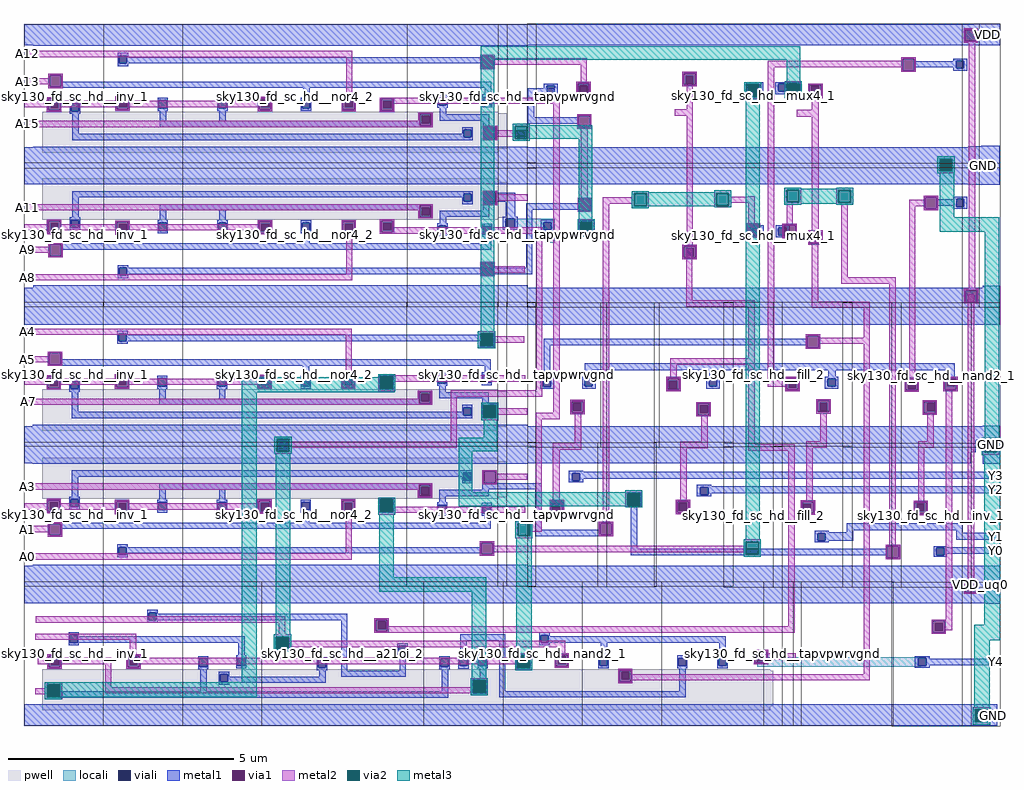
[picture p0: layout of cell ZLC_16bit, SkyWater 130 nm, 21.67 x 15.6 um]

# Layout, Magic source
magic
tech sky130B
magscale 1 2
<< locali >>
rect 2152 2014 2328 2054
rect 2288 1948 2328 2014
rect 3229 104 3957 107
rect 3229 70 3944 104
rect 3229 65 3957 70
<< viali >>
rect 2112 2014 2152 2054
rect 2278 1308 2312 1342
rect 2462 1310 2496 1344
rect 2838 1300 2872 1334
rect 3014 1310 3048 1344
rect 3368 1304 3402 1338
rect 3542 1310 3576 1344
rect 3898 1300 3932 1334
rect 4072 1310 4106 1344
rect 2412 1202 2446 1236
rect 2974 1192 3008 1226
rect 3506 1202 3540 1236
rect 3982 1200 4016 1234
rect 2406 890 2440 924
rect 2976 828 3010 862
rect 2318 758 2352 792
rect 2880 758 2914 792
rect 3432 754 3466 788
rect 3936 754 3970 788
rect 3496 624 3530 658
rect 4024 560 4058 594
rect 4018 224 4052 258
rect 3944 70 3978 104
<< metal1 >>
rect 4192 2918 4306 2920
rect -28 2824 4306 2918
rect 3868 2764 3932 2770
rect 3868 2712 3874 2764
rect 3926 2754 3932 2764
rect 3926 2747 4104 2754
rect 3926 2733 4112 2747
rect 3926 2726 4104 2733
rect 3926 2712 3932 2726
rect 3868 2706 3932 2712
rect 2424 2656 2488 2662
rect 2210 2606 2338 2634
rect 2210 2504 2238 2606
rect 2424 2604 2430 2656
rect 2482 2604 2488 2656
rect 2424 2598 2488 2604
rect 3180 2648 3254 2660
rect 3180 2596 3190 2648
rect 3242 2596 3254 2648
rect 3360 2654 3424 2660
rect 3360 2602 3366 2654
rect 3418 2602 3424 2654
rect 3360 2596 3424 2602
rect 3180 2588 3254 2596
rect 2428 2512 2492 2518
rect 2428 2504 2434 2512
rect 2210 2476 2434 2504
rect 2428 2460 2434 2476
rect 2486 2460 2492 2512
rect 2428 2454 2492 2460
rect 4164 2372 4304 2376
rect -26 2318 4304 2372
rect -26 2266 4040 2318
rect 4092 2266 4304 2318
rect -26 2208 4304 2266
rect 4164 2204 4304 2208
rect 2014 2129 2153 2170
rect 3968 2150 4032 2156
rect 2112 2062 2153 2129
rect 2430 2142 2494 2148
rect 2430 2122 2436 2142
rect 2202 2094 2436 2122
rect 2098 2054 2164 2062
rect 2098 2014 2112 2054
rect 2152 2014 2164 2054
rect 2098 2004 2164 2014
rect 2202 1836 2230 2094
rect 2430 2090 2436 2094
rect 2488 2090 2494 2142
rect 3968 2098 3974 2150
rect 4026 2141 4032 2150
rect 4026 2112 4116 2141
rect 4026 2098 4032 2112
rect 3968 2092 4032 2098
rect 2430 2084 2494 2090
rect 2436 2038 2504 2048
rect 2436 1986 2442 2038
rect 2494 1986 2504 2038
rect 2436 1978 2504 1986
rect 3178 2028 3242 2034
rect 3178 1976 3184 2028
rect 3236 1976 3242 2028
rect 3178 1970 3242 1976
rect 3340 2026 3404 2032
rect 3340 1974 3346 2026
rect 3398 1974 3404 2026
rect 3340 1968 3404 1974
rect 1974 1808 2230 1836
rect 4230 1748 4306 1756
rect -28 1584 4306 1748
rect 3444 1534 3508 1540
rect 3444 1521 3450 1534
rect 2280 1492 3450 1521
rect 2280 1352 2309 1492
rect 3444 1482 3450 1492
rect 3502 1482 3508 1534
rect 3444 1476 3508 1482
rect 2462 1380 4104 1412
rect 2462 1352 2494 1380
rect 3014 1352 3046 1380
rect 3544 1352 3576 1380
rect 4072 1352 4104 1380
rect 2264 1342 2326 1352
rect 2264 1308 2278 1342
rect 2312 1308 2326 1342
rect 2264 1298 2326 1308
rect 2450 1344 2510 1352
rect 2450 1310 2462 1344
rect 2496 1310 2510 1344
rect 2450 1300 2510 1310
rect 2824 1346 2888 1352
rect 2824 1294 2830 1346
rect 2882 1294 2888 1346
rect 3002 1344 3062 1352
rect 3002 1310 3014 1344
rect 3048 1310 3062 1344
rect 3002 1300 3062 1310
rect 3352 1346 3416 1352
rect 2824 1288 2888 1294
rect 3352 1294 3358 1346
rect 3410 1294 3416 1346
rect 3528 1344 3588 1352
rect 3528 1310 3542 1344
rect 3576 1310 3588 1344
rect 3528 1300 3588 1310
rect 3882 1344 3946 1350
rect 3352 1288 3416 1294
rect 3882 1292 3888 1344
rect 3940 1292 3946 1344
rect 3882 1286 3946 1292
rect 4054 1346 4118 1352
rect 4054 1294 4060 1346
rect 4112 1294 4118 1346
rect 4054 1288 4118 1294
rect 2398 1244 2462 1250
rect 2398 1192 2404 1244
rect 2456 1192 2462 1244
rect 3490 1248 3554 1252
rect 2398 1186 2462 1192
rect 2958 1234 3022 1240
rect 2958 1182 2964 1234
rect 3016 1182 3022 1234
rect 3490 1196 3496 1248
rect 3548 1196 3554 1248
rect 3490 1188 3554 1196
rect 3962 1242 4026 1248
rect 3962 1190 3968 1242
rect 4020 1190 4026 1242
rect 3962 1184 4026 1190
rect 2958 1176 3022 1182
rect 4230 1132 4306 1134
rect -26 1070 4306 1132
rect -26 1018 4198 1070
rect 4230 1018 4238 1070
rect 4290 1018 4306 1070
rect -26 968 4176 1018
rect 4230 966 4306 1018
rect 2392 930 2456 934
rect 2392 924 4305 930
rect 2392 890 2406 924
rect 2440 900 4305 924
rect 2440 890 2456 900
rect 2392 884 2456 890
rect 2008 852 2270 880
rect 2242 672 2270 852
rect 2960 866 3024 872
rect 2960 862 4305 866
rect 2648 834 2712 840
rect 2306 800 2370 806
rect 2306 748 2312 800
rect 2364 748 2370 800
rect 2648 782 2654 834
rect 2706 782 2712 834
rect 2960 828 2976 862
rect 3010 836 4305 862
rect 3010 828 3024 836
rect 2960 822 3024 828
rect 2648 776 2712 782
rect 2866 800 2930 806
rect 2306 742 2370 748
rect 2524 702 2588 708
rect 2524 672 2530 702
rect 2242 650 2530 672
rect 2582 650 2588 702
rect 2242 644 2588 650
rect 2666 589 2695 776
rect 2866 748 2872 800
rect 2924 748 2930 800
rect 2866 742 2930 748
rect 3422 798 3486 804
rect 3422 746 3428 798
rect 3480 746 3486 798
rect 3422 740 3486 746
rect 3922 796 3986 802
rect 3922 744 3928 796
rect 3980 744 3986 796
rect 3922 738 3986 744
rect 3625 671 4141 701
rect 3484 662 3546 668
rect 3625 662 3655 671
rect 3484 658 3655 662
rect 3484 624 3496 658
rect 3530 624 3655 658
rect 4111 659 4141 671
rect 4111 629 4305 659
rect 3484 623 3655 624
rect 3484 618 3546 623
rect 3798 600 3862 606
rect 3798 589 3804 600
rect 2666 560 3804 589
rect 3798 548 3804 560
rect 3856 548 3862 600
rect 4012 595 4070 600
rect 4012 594 4306 595
rect 4012 560 4024 594
rect 4058 566 4306 594
rect 4058 560 4070 566
rect 4012 552 4070 560
rect 3798 542 3862 548
rect -26 448 4306 514
rect -26 396 4150 448
rect 4202 396 4306 448
rect -26 346 4306 396
rect 4244 344 4306 346
rect 4002 268 4066 274
rect 4002 216 4008 268
rect 4060 216 4066 268
rect 4002 210 4066 216
rect 3928 104 3994 110
rect 3928 70 3944 104
rect 3978 101 3994 104
rect 3978 72 4306 101
rect 3978 70 3994 72
rect 3928 60 3994 70
rect -26 -126 4294 -102
rect -26 -178 4198 -126
rect 4250 -178 4294 -126
rect -26 -198 4294 -178
<< via1 >>
rect 3874 2712 3926 2764
rect 2430 2604 2482 2656
rect 3190 2596 3242 2648
rect 3366 2602 3418 2654
rect 2434 2460 2486 2512
rect 4040 2266 4092 2318
rect 2436 2090 2488 2142
rect 3974 2098 4026 2150
rect 2442 1986 2494 2038
rect 3184 1976 3236 2028
rect 3346 1974 3398 2026
rect 3450 1482 3502 1534
rect 2830 1334 2882 1346
rect 2830 1300 2838 1334
rect 2838 1300 2872 1334
rect 2872 1300 2882 1334
rect 2830 1294 2882 1300
rect 3358 1338 3410 1346
rect 3358 1304 3368 1338
rect 3368 1304 3402 1338
rect 3402 1304 3410 1338
rect 3358 1294 3410 1304
rect 3888 1334 3940 1344
rect 3888 1300 3898 1334
rect 3898 1300 3932 1334
rect 3932 1300 3940 1334
rect 3888 1292 3940 1300
rect 4060 1344 4112 1346
rect 4060 1310 4072 1344
rect 4072 1310 4106 1344
rect 4106 1310 4112 1344
rect 4060 1294 4112 1310
rect 2404 1236 2456 1244
rect 2404 1202 2412 1236
rect 2412 1202 2446 1236
rect 2446 1202 2456 1236
rect 2404 1192 2456 1202
rect 2964 1226 3016 1234
rect 2964 1192 2974 1226
rect 2974 1192 3008 1226
rect 3008 1192 3016 1226
rect 2964 1182 3016 1192
rect 3496 1236 3548 1248
rect 3496 1202 3506 1236
rect 3506 1202 3540 1236
rect 3540 1202 3548 1236
rect 3496 1196 3548 1202
rect 3968 1234 4020 1242
rect 3968 1200 3982 1234
rect 3982 1200 4016 1234
rect 4016 1200 4020 1234
rect 3968 1190 4020 1200
rect 4238 1018 4290 1070
rect 2312 792 2364 800
rect 2312 758 2318 792
rect 2318 758 2352 792
rect 2352 758 2364 792
rect 2312 748 2364 758
rect 2654 782 2706 834
rect 2530 650 2582 702
rect 2872 792 2924 800
rect 2872 758 2880 792
rect 2880 758 2914 792
rect 2914 758 2924 792
rect 2872 748 2924 758
rect 3428 788 3480 798
rect 3428 754 3432 788
rect 3432 754 3466 788
rect 3466 754 3480 788
rect 3428 746 3480 754
rect 3928 788 3980 796
rect 3928 754 3936 788
rect 3936 754 3970 788
rect 3970 754 3980 788
rect 3928 744 3980 754
rect 3804 548 3856 600
rect 4150 396 4202 448
rect 4008 258 4060 268
rect 4008 224 4018 258
rect 4018 224 4052 258
rect 4052 224 4060 258
rect 4008 216 4060 224
rect 4198 -178 4250 -126
<< metal2 >>
rect -26 2772 60 2800
rect 2094 2738 2472 2766
rect 3868 2764 3932 2770
rect 3868 2756 3874 2764
rect -26 2650 58 2678
rect 2444 2662 2472 2738
rect 3274 2727 3874 2756
rect 2424 2656 2488 2662
rect 2424 2604 2430 2656
rect 2482 2604 2488 2656
rect 2424 2598 2488 2604
rect 3170 2650 3246 2660
rect 3170 2594 3180 2650
rect 3236 2648 3246 2650
rect 3242 2596 3246 2648
rect 3236 2594 3246 2596
rect -26 2550 62 2578
rect 2164 2564 2350 2592
rect 3170 2584 3246 2594
rect -26 2461 42 2489
rect 2142 2464 2218 2476
rect 2142 2408 2152 2464
rect 2208 2408 2218 2464
rect 2142 2400 2218 2408
rect -26 2091 42 2119
rect -26 2002 64 2030
rect 2170 1988 2274 2016
rect -26 1902 58 1930
rect -26 1780 60 1808
rect -28 1538 58 1566
rect 1988 1544 2064 1554
rect 1988 1488 2000 1544
rect 2056 1488 2064 1544
rect 1988 1478 2064 1488
rect -28 1416 56 1444
rect 1544 1354 1620 1364
rect -28 1316 60 1344
rect 1544 1298 1554 1354
rect 1610 1298 1620 1354
rect 1544 1288 1620 1298
rect 2246 1292 2274 1988
rect 1866 1264 2274 1292
rect -24 1227 40 1255
rect 1084 1076 1160 1086
rect 1084 1020 1094 1076
rect 1150 1064 1160 1076
rect 1866 1064 1894 1264
rect 2002 1226 2078 1236
rect 2002 1170 2012 1226
rect 2068 1170 2078 1226
rect 2322 1192 2350 2564
rect 2428 2512 2492 2518
rect 2428 2460 2434 2512
rect 2486 2460 2492 2512
rect 2428 2454 2492 2460
rect 2445 2148 2475 2454
rect 2670 2166 2746 2176
rect 2670 2150 2682 2166
rect 2430 2142 2494 2148
rect 2430 2090 2436 2142
rect 2488 2090 2494 2142
rect 2430 2084 2494 2090
rect 2542 2121 2682 2150
rect 2430 2040 2506 2052
rect 2430 1984 2440 2040
rect 2496 1984 2506 2040
rect 2430 1976 2506 1984
rect 2002 1160 2078 1170
rect 2244 1164 2350 1192
rect 2398 1244 2462 1250
rect 2398 1192 2404 1244
rect 2456 1192 2462 1244
rect 2398 1186 2462 1192
rect 1150 1036 1894 1064
rect 1150 1020 1160 1036
rect 1084 1010 1160 1020
rect -28 851 40 879
rect 1544 808 1620 816
rect -28 762 60 790
rect 1544 752 1554 808
rect 1610 752 1620 808
rect 1544 740 1620 752
rect 2244 712 2272 1164
rect 2417 1059 2447 1186
rect 2321 1029 2447 1059
rect 2321 806 2351 1029
rect 2306 800 2370 806
rect 2306 748 2312 800
rect 2364 748 2370 800
rect 2306 742 2370 748
rect 2154 702 2272 712
rect 2542 708 2571 2121
rect 2670 2110 2682 2121
rect 2738 2110 2746 2166
rect 2670 2100 2746 2110
rect 3036 2168 3112 2180
rect 3036 2112 3046 2168
rect 3102 2152 3112 2168
rect 3188 2152 3216 2154
rect 3102 2124 3216 2152
rect 3102 2112 3112 2124
rect 3036 2104 3112 2112
rect 3188 2034 3216 2124
rect 3178 2028 3242 2034
rect 3178 1976 3184 2028
rect 3236 1976 3242 2028
rect 3178 1970 3242 1976
rect 2912 1692 2940 1920
rect 2912 1664 3216 1692
rect 3188 1434 3216 1664
rect 2842 1406 3216 1434
rect 2842 1352 2870 1406
rect 2824 1346 2888 1352
rect 2824 1294 2830 1346
rect 2882 1294 2888 1346
rect 2824 1288 2888 1294
rect 2958 1234 3022 1240
rect 2958 1182 2964 1234
rect 3016 1182 3022 1234
rect 2958 1176 3022 1182
rect 2979 1064 3008 1176
rect 2886 1035 3008 1064
rect 3188 1052 3216 1406
rect 3274 1337 3303 2727
rect 3868 2712 3874 2727
rect 3926 2712 3932 2764
rect 3868 2706 3932 2712
rect 3350 2654 3426 2664
rect 3350 2598 3360 2654
rect 3418 2602 3426 2654
rect 3416 2598 3426 2602
rect 3350 2588 3426 2598
rect 4028 2320 4104 2332
rect 4028 2264 4038 2320
rect 4094 2264 4104 2320
rect 4028 2256 4104 2264
rect 4186 2258 4196 2314
rect 3348 2182 3424 2192
rect 3348 2126 3358 2182
rect 3414 2126 3424 2182
rect 3348 2116 3424 2126
rect 3578 2180 3654 2192
rect 3578 2124 3588 2180
rect 3644 2124 3654 2180
rect 3968 2150 4032 2156
rect 3968 2138 3974 2150
rect 3578 2116 3654 2124
rect 3358 2032 3386 2116
rect 3340 2026 3404 2032
rect 3340 1974 3346 2026
rect 3398 1974 3404 2026
rect 3340 1968 3404 1974
rect 3470 1686 3498 1982
rect 3602 1794 3630 2116
rect 3902 2110 3974 2138
rect 3602 1766 3842 1794
rect 3470 1658 3728 1686
rect 3444 1534 3508 1540
rect 3444 1482 3450 1534
rect 3502 1526 3508 1534
rect 3700 1526 3728 1658
rect 3502 1498 3728 1526
rect 3502 1482 3508 1498
rect 3444 1476 3508 1482
rect 3352 1346 3416 1352
rect 3352 1337 3358 1346
rect 3274 1308 3358 1337
rect 3352 1294 3358 1308
rect 3410 1294 3416 1346
rect 3352 1288 3416 1294
rect 3490 1248 3554 1252
rect 3490 1196 3496 1248
rect 3548 1196 3554 1248
rect 3490 1188 3554 1196
rect 3508 1066 3536 1188
rect 2642 836 2718 848
rect 2642 780 2652 836
rect 2708 780 2718 836
rect 2886 806 2915 1035
rect 3188 1024 3394 1052
rect 2642 772 2718 780
rect 2866 800 2930 806
rect 2866 748 2872 800
rect 2924 748 2930 800
rect 2866 742 2930 748
rect -28 662 56 690
rect 2154 646 2164 702
rect 2220 664 2272 702
rect 2524 702 2588 708
rect 2220 646 2230 664
rect 2154 636 2230 646
rect 2524 650 2530 702
rect 2582 650 2588 702
rect 2524 644 2588 650
rect 3168 620 3244 630
rect 3168 602 3178 620
rect 2092 574 3178 602
rect -28 540 58 568
rect 3168 564 3178 574
rect 3234 564 3244 620
rect 3168 554 3244 564
rect 3366 216 3394 1024
rect 3446 1038 3536 1066
rect 3446 804 3474 1038
rect 3422 798 3486 804
rect 3422 746 3428 798
rect 3480 746 3486 798
rect 3422 740 3486 746
rect 1082 198 1158 208
rect 1082 142 1090 198
rect 1146 142 1158 198
rect 1082 132 1158 142
rect 2154 114 2230 124
rect 2154 58 2162 114
rect 2218 58 2230 114
rect 2154 48 2230 58
rect 3700 32 3728 1498
rect 3814 606 3842 1766
rect 3902 1350 3930 2110
rect 3968 2098 3974 2110
rect 4026 2098 4032 2150
rect 3968 2092 4032 2098
rect 3882 1344 3946 1350
rect 3882 1292 3888 1344
rect 3940 1292 3946 1344
rect 3882 1286 3946 1292
rect 4054 1346 4118 1352
rect 4054 1294 4060 1346
rect 4112 1294 4118 1346
rect 4054 1288 4118 1294
rect 3962 1242 4026 1248
rect 3962 1190 3968 1242
rect 4020 1190 4026 1242
rect 3962 1184 4026 1190
rect 3984 1066 4012 1184
rect 3942 1038 4012 1066
rect 3942 802 3970 1038
rect 3922 796 3986 802
rect 3922 744 3928 796
rect 3980 744 3986 796
rect 3922 738 3986 744
rect 3798 600 3862 606
rect 3798 548 3804 600
rect 3856 548 3862 600
rect 3798 542 3862 548
rect 4066 274 4094 1288
rect 4162 452 4192 1718
rect 4224 1072 4300 1082
rect 4224 1016 4236 1072
rect 4292 1016 4300 1072
rect 4224 1006 4300 1016
rect 4144 448 4208 452
rect 4144 396 4150 448
rect 4202 396 4208 448
rect 4144 388 4208 396
rect 4002 268 4094 274
rect 4002 216 4008 268
rect 4060 226 4094 268
rect 4060 216 4066 226
rect 4002 210 4066 216
rect 1956 4 2032 14
rect 3362 4 3728 32
rect 64 -16 142 -4
rect 64 -72 76 -16
rect 132 -72 142 -16
rect 1956 -52 1966 4
rect 2022 -52 2032 4
rect 1956 -62 2032 -52
rect 64 -80 142 -72
rect 4186 -124 4262 -116
rect 4186 -180 4196 -124
rect 4252 -180 4262 -124
rect 4186 -192 4262 -180
<< via2 >>
rect 3180 2648 3236 2650
rect 3180 2596 3190 2648
rect 3190 2596 3236 2648
rect 3180 2594 3236 2596
rect 2152 2408 2208 2464
rect 2000 1488 2056 1544
rect 1554 1298 1610 1354
rect 1094 1020 1150 1076
rect 2012 1170 2068 1226
rect 2440 2038 2496 2040
rect 2440 1986 2442 2038
rect 2442 1986 2494 2038
rect 2494 1986 2496 2038
rect 2440 1984 2496 1986
rect 1554 752 1610 808
rect 2682 2110 2738 2166
rect 3046 2112 3102 2168
rect 3360 2602 3366 2654
rect 3366 2602 3416 2654
rect 3360 2598 3416 2602
rect 4038 2318 4094 2320
rect 4038 2266 4040 2318
rect 4040 2266 4092 2318
rect 4092 2266 4094 2318
rect 4038 2264 4094 2266
rect 3358 2126 3414 2182
rect 3588 2124 3644 2180
rect 2652 834 2708 836
rect 2652 782 2654 834
rect 2654 782 2706 834
rect 2706 782 2708 834
rect 2652 780 2708 782
rect 2164 646 2220 702
rect 3178 564 3234 620
rect 1090 142 1146 198
rect 2162 58 2218 114
rect 4236 1070 4292 1072
rect 4236 1018 4238 1070
rect 4238 1018 4290 1070
rect 4290 1018 4292 1070
rect 4236 1016 4292 1018
rect 76 -72 132 -16
rect 1966 -52 2022 4
rect 4196 -126 4252 -124
rect 4196 -178 4198 -126
rect 4198 -178 4250 -126
rect 4250 -178 4252 -126
rect 4196 -180 4252 -178
<< metal3 >>
rect 2000 2760 3420 2820
rect 2000 1554 2060 2760
rect 3360 2664 3420 2760
rect 3170 2650 3246 2660
rect 3170 2594 3180 2650
rect 3236 2594 3246 2650
rect 3170 2584 3246 2594
rect 3350 2654 3426 2664
rect 3350 2598 3360 2654
rect 3416 2598 3426 2654
rect 3350 2588 3426 2598
rect 2142 2470 2218 2476
rect 2142 2464 2496 2470
rect 2142 2408 2152 2464
rect 2208 2410 2496 2464
rect 2208 2408 2218 2410
rect 2142 2400 2218 2408
rect 2436 2052 2496 2410
rect 2670 2171 2746 2176
rect 3036 2171 3112 2180
rect 2670 2168 3112 2171
rect 2670 2166 3046 2168
rect 2670 2110 2682 2166
rect 2738 2112 3046 2166
rect 3102 2112 3112 2168
rect 2738 2110 3112 2112
rect 2670 2109 3112 2110
rect 2670 2100 2746 2109
rect 3036 2104 3112 2109
rect 2430 2040 2506 2052
rect 2430 1984 2440 2040
rect 2496 1984 2506 2040
rect 2430 1976 2506 1984
rect 2436 1974 2496 1976
rect 1988 1544 2064 1554
rect 1988 1488 2000 1544
rect 2056 1488 2064 1544
rect 1988 1478 2064 1488
rect 1544 1354 1620 1364
rect 1544 1351 1554 1354
rect 938 1298 1554 1351
rect 1610 1298 1620 1354
rect 938 1288 1620 1298
rect 938 1284 1619 1288
rect 64 -5 140 -4
rect 938 -5 1005 1284
rect 2002 1226 2078 1236
rect 2002 1170 2012 1226
rect 2068 1170 2078 1226
rect 2002 1160 2078 1170
rect 1084 1076 1160 1086
rect 2013 1082 2074 1160
rect 1084 1020 1094 1076
rect 1150 1020 1160 1076
rect 1084 1010 1160 1020
rect 1902 1021 2074 1082
rect 1091 208 1154 1010
rect 1902 839 1963 1021
rect 2642 839 2718 848
rect 1902 836 2718 839
rect 1544 808 1620 816
rect 1544 752 1554 808
rect 1610 752 1620 808
rect 1902 780 2652 836
rect 2708 780 2718 836
rect 1902 778 2718 780
rect 2642 772 2718 778
rect 1544 740 1620 752
rect 1550 462 1615 740
rect 2154 702 2230 712
rect 2154 646 2164 702
rect 2220 646 2230 702
rect 2154 636 2230 646
rect 1550 397 2025 462
rect 1082 198 1158 208
rect 1082 142 1090 198
rect 1146 142 1158 198
rect 1082 132 1158 142
rect 1960 14 2025 397
rect 2158 124 2226 636
rect 3176 630 3240 2584
rect 4028 2320 4104 2332
rect 4028 2264 4038 2320
rect 4094 2264 4104 2320
rect 4028 2256 4104 2264
rect 3348 2188 3424 2192
rect 3578 2188 3654 2192
rect 3348 2182 3654 2188
rect 3348 2126 3358 2182
rect 3414 2180 3654 2182
rect 3414 2126 3588 2180
rect 3348 2124 3588 2126
rect 3644 2124 3654 2180
rect 3348 2120 3654 2124
rect 3348 2116 3424 2120
rect 3578 2116 3654 2120
rect 4038 2060 4102 2256
rect 4038 1996 4302 2060
rect 4238 1082 4302 1996
rect 4224 1072 4306 1082
rect 4224 1016 4236 1072
rect 4292 1016 4306 1072
rect 4224 1004 4306 1016
rect 3168 620 3244 630
rect 3168 564 3178 620
rect 3234 564 3244 620
rect 3168 554 3244 564
rect 4237 252 4306 1004
rect 4192 183 4306 252
rect 2154 114 2230 124
rect 2154 58 2162 114
rect 2218 58 2230 114
rect 2154 48 2230 58
rect 64 -16 1005 -5
rect 64 -72 76 -16
rect 132 -72 1005 -16
rect 1956 4 2032 14
rect 1956 -52 1966 4
rect 2022 -52 2032 4
rect 1956 -62 2032 -52
rect 64 -80 140 -72
rect 4192 -116 4261 183
rect 4186 -124 4262 -116
rect 4186 -180 4196 -124
rect 4252 -180 4262 -124
rect 4186 -192 4262 -180
use BNE_4bit  BNE_4bit_0
transform 1 0 -28 0 1 -198
box 0 0 3452 642
use NLC_4bit  NLC_4bit_0
transform 1 0 -28 0 -1 1062
box 0 0 2272 640
use NLC_4bit  NLC_4bit_1
transform 1 0 -28 0 1 1044
box 0 0 2272 640
use NLC_4bit  NLC_4bit_2
transform 1 0 -26 0 -1 2302
box 0 0 2272 640
use NLC_4bit  NLC_4bit_3
transform 1 0 -26 0 1 2278
box 0 0 2272 640
use sky130_fd_sc_hd__fill_2  sky130_fd_sc_hd__fill_2_0 $PDK_ROOT/sky130B/libs.ref/sky130_fd_sc_hd/mag
transform 1 0 2570 0 1 1088
box -38 -48 222 592
use sky130_fd_sc_hd__fill_2  sky130_fd_sc_hd__fill_2_1
transform 1 0 3118 0 1 1090
box -38 -48 222 592
use sky130_fd_sc_hd__fill_2  sky130_fd_sc_hd__fill_2_2
transform 1 0 3646 0 1 1088
box -38 -48 222 592
use sky130_fd_sc_hd__fill_2  sky130_fd_sc_hd__fill_2_3
transform 1 0 2558 0 -1 1012
box -38 -48 222 592
use sky130_fd_sc_hd__fill_2  sky130_fd_sc_hd__fill_2_4
transform 1 0 3118 0 -1 1010
box -38 -48 222 592
use sky130_fd_sc_hd__fill_2  sky130_fd_sc_hd__fill_2_5
transform 1 0 3646 0 -1 1010
box -38 -48 222 592
use sky130_fd_sc_hd__fill_4  sky130_fd_sc_hd__fill_4_0 $PDK_ROOT/sky130B/libs.ref/sky130_fd_sc_hd/mag
transform 1 0 3426 0 1 -150
box -38 -48 406 592
use sky130_fd_sc_hd__inv_1  sky130_fd_sc_hd__inv_1_0 $PDKPATH/libs.ref/sky130_fd_sc_hd/mag
transform 1 0 2246 0 -1 1012
box -38 -48 314 592
use sky130_fd_sc_hd__inv_1  sky130_fd_sc_hd__inv_1_1
transform 1 0 3864 0 1 -152
box -38 -48 314 592
use sky130_fd_sc_hd__inv_1  sky130_fd_sc_hd__inv_1_2
transform 1 0 2808 0 -1 1014
box -38 -48 314 592
use sky130_fd_sc_hd__inv_1  sky130_fd_sc_hd__inv_1_3
transform 1 0 3336 0 -1 1010
box -38 -48 314 592
use sky130_fd_sc_hd__inv_1  sky130_fd_sc_hd__inv_1_4
transform 1 0 3864 0 -1 1010
box -38 -48 314 592
use sky130_fd_sc_hd__nand2_1  sky130_fd_sc_hd__nand2_1_0 $PDKPATH/libs.ref/sky130_fd_sc_hd/mag
transform 1 0 2246 0 1 1088
box -38 -48 314 592
use sky130_fd_sc_hd__nand2_1  sky130_fd_sc_hd__nand2_1_1
transform 1 0 2808 0 1 1088
box -38 -48 314 592
use sky130_fd_sc_hd__nand2_1  sky130_fd_sc_hd__nand2_1_2
transform 1 0 3336 0 1 1092
box -38 -48 314 592
use sky130_fd_sc_hd__nand2_1  sky130_fd_sc_hd__nand2_1_3
transform 1 0 3864 0 1 1088
box -38 -48 314 592
use sky130_fd_sc_hd__tapvpwrvgnd_1  sky130_fd_sc_hd__tapvpwrvgnd_1_0 $PDKPATH/libs.ref/sky130_fd_sc_hd/mag
transform 1 0 4176 0 1 1088
box -38 -48 130 592
use sky130_fd_sc_hd__tapvpwrvgnd_1  sky130_fd_sc_hd__tapvpwrvgnd_1_1
transform 1 0 4176 0 -1 1010
box -38 -48 130 592
use sky130_fd_sc_hd__tapvpwrvgnd_1  sky130_fd_sc_hd__tapvpwrvgnd_1_2
transform 1 0 4176 0 1 -152
box -38 -48 130 592
use ZMUX4  ZMUX4_0
transform 1 0 2304 0 1 2364
box -98 -704 2002 556
<< labels >>
rlabel metal1 4277 72 4306 101 1 Y4
port 2 n
rlabel metal1 4277 566 4306 595 1 Y0
port 3 n
rlabel metal1 4275 836 4305 866 1 Y2
port 5 n
rlabel metal1 4275 900 4305 930 1 Y3
port 6 n
rlabel metal2 -26 1902 2 1930 1 A9
port 13 n
rlabel metal2 -26 1780 2 1808 1 A8
port 14 n
rlabel metal2 -26 2002 2 2030 1 A10
port 15 n
rlabel metal2 -26 2091 2 2119 1 A11
port 16 n
rlabel metal2 -26 2461 2 2489 1 A15
port 17 n
rlabel metal2 -26 2550 2 2578 1 A14
port 18 n
rlabel metal2 -26 2650 2 2678 1 A13
port 19 n
rlabel metal2 -26 2772 2 2800 1 A12
port 20 n
rlabel metal2 -24 1227 4 1255 1 A7
port 21 n
rlabel metal2 -28 1316 0 1344 1 A6
port 22 n
rlabel metal2 -28 1416 0 1444 1 A5
port 23 n
rlabel metal2 -28 1538 0 1566 1 A4
port 24 n
rlabel metal2 -28 851 0 879 1 A3
port 25 n
rlabel metal2 -28 762 0 790 1 A2
port 26 n
rlabel metal2 -28 662 0 690 1 A1
port 27 n
rlabel metal2 -28 540 0 568 1 A0
port 28 n
rlabel metal1 4275 629 4305 659 1 Y1
port 30 n
rlabel metal1 4230 966 4306 1134 1 GND
port 29 n
rlabel metal1 4260 -198 4294 -102 1 GND
port 29 n
rlabel metal1 4164 2204 4304 2376 1 GND
port 29 n
rlabel metal1 4192 2824 4306 2920 1 VDD
port 32 n
rlabel metal1 4136 346 4306 514 1 VDD_uq0
port 33 n
<< end >>

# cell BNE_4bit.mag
magic
tech sky130B
magscale 1 2
<< pwell >>
rect 80 244 3313 252
rect 80 86 3326 244
rect 80 69 3313 86
<< viali >>
rect 554 469 588 503
rect 1572 430 1606 464
rect 204 369 238 403
rect 1132 346 1166 380
rect 2294 369 2328 403
rect 1664 321 1698 355
rect 120 270 154 304
rect 470 270 504 304
rect 779 263 813 297
rect 948 267 982 301
rect 1307 259 1341 293
rect 1851 263 1885 297
rect 1934 266 1968 300
rect 2020 267 2054 301
rect 2202 270 2236 304
rect 2372 274 2406 308
rect 2557 267 2591 301
rect 2906 267 2940 301
rect 3084 267 3118 301
rect 3256 290 3290 324
rect 871 195 905 229
rect 2654 206 2688 240
<< metal1 >>
rect 38 544 3416 642
rect 548 503 594 515
rect 548 469 554 503
rect 588 497 594 503
rect 588 469 1436 497
rect 548 457 594 469
rect 198 403 244 415
rect 198 369 204 403
rect 238 397 244 403
rect 238 369 980 397
rect 198 357 244 369
rect 104 312 168 318
rect 104 260 110 312
rect 162 260 168 312
rect 104 254 168 260
rect 454 312 518 318
rect 952 313 980 369
rect 1116 388 1180 394
rect 1116 336 1122 388
rect 1174 336 1180 388
rect 1116 330 1180 336
rect 454 260 460 312
rect 512 260 518 312
rect 454 254 518 260
rect 773 297 819 309
rect 773 263 779 297
rect 813 263 819 297
rect 773 251 819 263
rect 942 301 988 313
rect 942 267 948 301
rect 982 267 988 301
rect 942 255 988 267
rect 1301 293 1347 305
rect 1301 259 1307 293
rect 1341 259 1347 293
rect 100 182 164 188
rect 100 130 106 182
rect 158 153 164 182
rect 783 153 811 251
rect 1301 247 1347 259
rect 865 229 911 241
rect 865 195 871 229
rect 905 219 911 229
rect 1311 219 1339 247
rect 905 195 1339 219
rect 1408 245 1436 469
rect 1556 472 1620 478
rect 1556 420 1562 472
rect 1614 420 1620 472
rect 1556 414 1620 420
rect 1938 378 2138 406
rect 1658 355 1704 367
rect 1658 321 1664 355
rect 1698 321 1704 355
rect 1658 309 1704 321
rect 1938 312 1966 378
rect 1668 245 1696 309
rect 1845 297 1891 309
rect 1845 263 1851 297
rect 1885 263 1891 297
rect 1845 251 1891 263
rect 1928 300 1974 312
rect 1928 266 1934 300
rect 1968 266 1974 300
rect 1928 254 1974 266
rect 2014 301 2060 313
rect 2014 267 2020 301
rect 2054 267 2060 301
rect 2014 255 2060 267
rect 1408 217 1696 245
rect 865 191 1339 195
rect 865 183 911 191
rect 1855 153 1883 251
rect 2024 206 2052 255
rect 158 130 1883 153
rect 1990 200 2054 206
rect 1990 148 1996 200
rect 2048 148 2054 200
rect 1990 142 2054 148
rect 2110 154 2138 378
rect 2288 403 2334 415
rect 2288 369 2294 403
rect 2328 397 2334 403
rect 2328 369 3116 397
rect 2288 357 2334 369
rect 2186 312 2250 318
rect 2186 260 2192 312
rect 2244 260 2250 312
rect 2186 254 2250 260
rect 2356 316 2420 322
rect 2356 264 2362 316
rect 2414 264 2420 316
rect 2561 313 2589 369
rect 3088 313 3116 369
rect 3240 332 3304 338
rect 2356 258 2420 264
rect 2551 301 2597 313
rect 2551 267 2557 301
rect 2591 267 2597 301
rect 2551 255 2597 267
rect 2900 301 2946 313
rect 2900 267 2906 301
rect 2940 267 2946 301
rect 2900 255 2946 267
rect 3078 301 3124 313
rect 3078 267 3084 301
rect 3118 267 3124 301
rect 3240 280 3246 332
rect 3298 280 3304 332
rect 3240 274 3304 280
rect 3078 255 3124 267
rect 2638 248 2702 254
rect 2638 196 2644 248
rect 2696 196 2702 248
rect 2638 190 2702 196
rect 2910 154 2938 255
rect 100 125 1883 130
rect 2110 126 2938 154
rect 100 124 164 125
rect 38 0 3414 96
<< via1 >>
rect 110 304 162 312
rect 110 270 120 304
rect 120 270 154 304
rect 154 270 162 304
rect 110 260 162 270
rect 1122 380 1174 388
rect 1122 346 1132 380
rect 1132 346 1166 380
rect 1166 346 1174 380
rect 1122 336 1174 346
rect 460 304 512 312
rect 460 270 470 304
rect 470 270 504 304
rect 504 270 512 304
rect 460 260 512 270
rect 106 130 158 182
rect 1562 464 1614 472
rect 1562 430 1572 464
rect 1572 430 1606 464
rect 1606 430 1614 464
rect 1562 420 1614 430
rect 1996 148 2048 200
rect 2192 304 2244 312
rect 2192 270 2202 304
rect 2202 270 2236 304
rect 2236 270 2244 304
rect 2192 260 2244 270
rect 2362 308 2414 316
rect 2362 274 2372 308
rect 2372 274 2406 308
rect 2406 274 2414 308
rect 2362 264 2414 274
rect 3246 324 3298 332
rect 3246 290 3256 324
rect 3256 290 3290 324
rect 3290 290 3298 324
rect 3246 280 3298 290
rect 2644 240 2696 248
rect 2644 206 2654 240
rect 2654 206 2688 240
rect 2688 206 2696 240
rect 2644 196 2696 206
<< metal2 >>
rect 52 458 1160 486
rect 50 382 498 410
rect 1132 394 1160 458
rect 1556 472 1620 478
rect 1556 420 1562 472
rect 1614 442 1620 472
rect 1614 420 3422 442
rect 1556 414 3422 420
rect 470 318 498 382
rect 1116 388 1180 394
rect 1116 336 1122 388
rect 1174 378 1180 388
rect 1174 350 2404 378
rect 1174 336 1180 350
rect 1116 330 1180 336
rect 2376 322 2404 350
rect 3240 332 3304 338
rect 104 312 168 318
rect 104 302 110 312
rect 60 274 110 302
rect 104 260 110 274
rect 162 302 168 312
rect 454 312 518 318
rect 162 274 388 302
rect 162 260 168 274
rect 104 254 168 260
rect 100 182 164 188
rect 100 168 106 182
rect 50 140 106 168
rect 100 130 106 140
rect 158 130 164 182
rect 360 172 388 274
rect 454 260 460 312
rect 512 302 518 312
rect 2186 312 2250 318
rect 2186 302 2192 312
rect 512 274 2192 302
rect 512 260 518 274
rect 454 254 518 260
rect 2186 260 2192 274
rect 2244 260 2250 312
rect 2186 254 2250 260
rect 2356 316 2420 322
rect 2356 264 2362 316
rect 2414 264 2420 316
rect 3240 280 3246 332
rect 3298 322 3304 332
rect 3298 294 3426 322
rect 3298 280 3304 294
rect 3240 274 3304 280
rect 2356 258 2420 264
rect 2638 248 2702 254
rect 1990 200 2054 206
rect 1990 172 1996 200
rect 360 148 1996 172
rect 2048 148 2054 200
rect 2638 196 2644 248
rect 2696 230 2702 248
rect 2696 202 3418 230
rect 2696 196 2702 202
rect 2638 190 2702 196
rect 360 144 2054 148
rect 1990 142 2054 144
rect 100 124 164 130
use sky130_fd_sc_hd__tapvpwrvgnd_1  sky130_fd_sc_hd__tapvpwrvgnd_1_0 $PDKPATH/libs.ref/sky130_fd_sc_hd/mag
transform 1 0 3322 0 1 48
box -38 -48 130 592
use sky130_fd_sc_hd__inv_1  x1 $PDKPATH/libs.ref/sky130_fd_sc_hd/mag
transform 1 0 38 0 1 48
box -38 -48 314 592
use sky130_fd_sc_hd__inv_1  x2
transform 1 0 390 0 1 48
box -38 -48 314 592
use sky130_fd_sc_hd__nand2_1  x3 $PDKPATH/libs.ref/sky130_fd_sc_hd/mag
transform 1 0 742 0 1 48
box -38 -48 314 592
use sky130_fd_sc_hd__a21oi_2  x4 $PDKPATH/libs.ref/sky130_fd_sc_hd/mag
transform 1 0 1094 0 1 48
box -38 -48 682 592
use sky130_fd_sc_hd__nand2_1  x5
transform 1 0 2166 0 1 48
box -38 -48 314 592
use sky130_fd_sc_hd__inv_2  x6 $PDKPATH/libs.ref/sky130_fd_sc_hd/mag
transform 1 0 2518 0 1 48
box -38 -48 314 592
use sky130_fd_sc_hd__nand2_1  x7
transform 1 0 1814 0 1 48
box -38 -48 314 592
use sky130_fd_sc_hd__nor2_2  x8 $PDKPATH/libs.ref/sky130_fd_sc_hd/mag
transform 1 0 2870 0 1 48
box -38 -48 498 592
<< labels >>
rlabel metal1 3370 544 3414 640 1 VDD
port 2 n power input
rlabel metal1 38 544 82 640 1 VDD
port 2 n power input
rlabel metal1 38 0 82 96 1 GND
port 3 n ground input
rlabel metal1 3370 0 3414 96 1 GND
port 3 n ground input
rlabel metal2 52 458 80 486 1 a2
port 4 n signal input
rlabel metal2 50 382 78 410 1 a3
port 5 n signal input
rlabel metal2 60 274 88 302 1 a0
port 6 n signal input
rlabel metal2 50 140 78 168 1 a1
port 7 n signal input
rlabel metal2 3394 414 3422 442 1 y0
port 8 n signal output
rlabel metal2 3398 294 3426 322 1 Q
port 9 n signal output
rlabel metal2 3390 202 3418 230 1 y1
port 10 n signal output
<< end >>

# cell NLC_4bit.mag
magic
tech sky130B
magscale 1 2
<< pwell >>
rect 80 244 2104 252
rect 80 86 2144 244
rect 80 69 2104 86
<< viali >>
rect 420 466 454 500
rect 116 268 150 302
rect 208 254 242 288
rect 420 272 454 306
rect 597 267 631 301
rect 862 267 896 301
rect 1052 270 1086 304
rect 1234 267 1268 301
rect 1424 270 1458 304
rect 1594 266 1628 300
rect 1840 280 1874 314
rect 2038 282 2072 316
rect 1765 199 1799 233
rect 1951 137 1985 171
<< metal1 >>
rect 38 544 2234 640
rect 414 500 460 512
rect 414 466 420 500
rect 454 494 460 500
rect 2024 498 2088 504
rect 2024 494 2030 498
rect 454 466 2030 494
rect 414 454 460 466
rect 2024 446 2030 466
rect 2082 446 2088 498
rect 2024 440 2088 446
rect 106 414 170 420
rect 106 362 112 414
rect 164 385 170 414
rect 164 362 2073 385
rect 106 357 2073 362
rect 106 356 170 357
rect 100 310 164 316
rect 100 258 106 310
rect 158 258 164 310
rect 404 314 468 320
rect 100 252 164 258
rect 202 288 248 300
rect 202 254 208 288
rect 242 254 248 288
rect 404 262 410 314
rect 462 262 468 314
rect 404 256 468 262
rect 591 301 637 313
rect 591 267 597 301
rect 631 267 637 301
rect 591 255 637 267
rect 856 301 902 313
rect 856 267 862 301
rect 896 267 902 301
rect 856 255 902 267
rect 1036 312 1100 318
rect 1238 313 1266 357
rect 2045 328 2073 357
rect 1036 260 1042 312
rect 1094 260 1100 312
rect 202 242 248 254
rect 213 153 241 242
rect 601 211 629 255
rect 866 211 894 255
rect 1036 254 1100 260
rect 1228 301 1274 313
rect 1228 267 1234 301
rect 1268 267 1274 301
rect 1228 255 1274 267
rect 1408 312 1472 318
rect 1834 314 1880 326
rect 1408 260 1414 312
rect 1466 260 1472 312
rect 1408 254 1472 260
rect 1578 308 1642 314
rect 1578 256 1584 308
rect 1636 256 1642 308
rect 1834 280 1840 314
rect 1874 280 1880 314
rect 1834 268 1880 280
rect 2032 316 2078 328
rect 2032 282 2038 316
rect 2072 282 2078 316
rect 2032 270 2078 282
rect 1578 250 1642 256
rect 1749 241 1813 247
rect 1749 211 1755 241
rect 600 189 1755 211
rect 1807 189 1813 241
rect 1844 240 1872 268
rect 1844 212 2064 240
rect 600 183 1813 189
rect 2036 188 2064 212
rect 1945 171 1991 183
rect 1945 153 1951 171
rect 213 137 1951 153
rect 1985 137 1991 171
rect 213 125 1991 137
rect 2036 182 2100 188
rect 2036 130 2042 182
rect 2094 130 2100 182
rect 2036 124 2100 130
rect 38 0 2234 96
<< via1 >>
rect 2030 446 2082 498
rect 112 362 164 414
rect 106 302 158 310
rect 106 268 116 302
rect 116 268 150 302
rect 150 268 158 302
rect 106 258 158 268
rect 410 306 462 314
rect 410 272 420 306
rect 420 272 454 306
rect 454 272 462 306
rect 410 262 462 272
rect 1042 304 1094 312
rect 1042 270 1052 304
rect 1052 270 1086 304
rect 1086 270 1094 304
rect 1042 260 1094 270
rect 1414 304 1466 312
rect 1414 270 1424 304
rect 1424 270 1458 304
rect 1458 270 1466 304
rect 1414 260 1466 270
rect 1584 300 1636 308
rect 1584 266 1594 300
rect 1594 266 1628 300
rect 1628 266 1636 300
rect 1584 256 1636 266
rect 1755 233 1807 241
rect 1755 199 1765 233
rect 1765 199 1799 233
rect 1799 199 1807 233
rect 1755 189 1807 199
rect 2042 130 2094 182
<< metal2 >>
rect 58 494 1456 522
rect 106 414 170 420
rect 106 400 112 414
rect 56 372 112 400
rect 106 362 112 372
rect 164 362 170 414
rect 106 356 170 362
rect 100 310 164 316
rect 100 300 106 310
rect 60 272 106 300
rect 100 258 106 272
rect 158 300 164 310
rect 404 314 468 320
rect 1428 318 1456 494
rect 2024 498 2088 504
rect 2024 446 2030 498
rect 2082 488 2088 498
rect 2082 460 2222 488
rect 2082 446 2088 460
rect 2024 440 2088 446
rect 404 300 410 314
rect 158 272 410 300
rect 158 258 164 272
rect 100 252 164 258
rect 404 262 410 272
rect 462 300 468 314
rect 1036 312 1100 318
rect 1036 300 1042 312
rect 462 272 1042 300
rect 462 262 468 272
rect 404 256 468 262
rect 1036 260 1042 272
rect 1094 260 1100 312
rect 1036 254 1100 260
rect 1408 312 1472 318
rect 1408 260 1414 312
rect 1466 260 1472 312
rect 1408 254 1472 260
rect 1578 308 2226 314
rect 1578 256 1584 308
rect 1636 286 2226 308
rect 1636 256 1642 286
rect 1578 250 1642 256
rect 1749 241 1813 247
rect 1749 211 1755 241
rect 40 189 1755 211
rect 1807 189 1813 241
rect 40 183 1813 189
rect 2036 182 2100 188
rect 2036 130 2042 182
rect 2094 168 2100 182
rect 2094 140 2234 168
rect 2094 130 2100 140
rect 2036 124 2100 130
use sky130_fd_sc_hd__tapvpwrvgnd_1  sky130_fd_sc_hd__tapvpwrvgnd_1_0 $PDKPATH/libs.ref/sky130_fd_sc_hd/mag
transform 1 0 2142 0 1 48
box -38 -48 130 592
use sky130_fd_sc_hd__nor4_2  x1 $PDKPATH/libs.ref/sky130_fd_sc_hd/mag
transform 1 0 742 0 1 48
box -38 -48 958 592
use sky130_fd_sc_hd__nor2_1  x2 $PDKPATH/libs.ref/sky130_fd_sc_hd/mag
transform 1 0 390 0 1 48
box -38 -48 314 592
use sky130_fd_sc_hd__a21oi_1  x3 $PDKPATH/libs.ref/sky130_fd_sc_hd/mag
transform 1 0 1738 0 1 48
box -38 -48 406 592
use sky130_fd_sc_hd__inv_1  x4 $PDKPATH/libs.ref/sky130_fd_sc_hd/mag
transform 1 0 38 0 1 48
box -38 -48 314 592
<< labels >>
rlabel metal1 38 0 90 96 1 GND
port 1 n ground input
rlabel metal1 2182 0 2234 96 1 GND
port 1 n ground input
rlabel metal1 2182 544 2234 640 1 VDD
port 2 n power input
rlabel metal1 38 544 90 640 1 VDD
port 2 n power input
rlabel metal2 58 494 86 522 1 X0
port 3 n signal input
rlabel metal2 56 372 84 400 1 X1
port 4 n signal input
rlabel metal2 60 272 88 300 1 X2
port 5 n signal input
rlabel metal2 40 183 68 211 1 X3
port 6 n signal input
rlabel metal2 2194 460 2222 488 1 Z1
port 7 n signal output
rlabel metal2 2198 286 2226 314 1 a
port 8 n signal output
rlabel metal2 2206 140 2234 168 1 Z0
port 9 n signal output
<< end >>

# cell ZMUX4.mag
magic
tech sky130B
magscale 1 2
<< viali >>
rect 1808 358 1842 392
rect 606 290 640 324
rect -10 246 24 280
rect 136 246 170 280
rect 902 254 936 288
rect 1018 256 1052 290
rect 1164 246 1198 280
rect 1808 -256 1842 -222
rect -24 -360 10 -326
rect 150 -360 184 -326
rect 904 -386 938 -352
rect 1018 -384 1052 -350
rect 1166 -412 1200 -378
rect 608 -476 642 -442
<< metal1 >>
rect 1936 460 2002 556
rect 1794 392 1856 400
rect 1794 358 1808 392
rect 1842 358 1856 392
rect 1794 346 1856 358
rect 592 336 656 342
rect -24 280 38 290
rect -24 246 -10 280
rect 24 246 38 280
rect -24 236 38 246
rect 121 280 184 290
rect 121 246 136 280
rect 170 246 184 280
rect 592 284 598 336
rect 650 284 656 336
rect 592 278 656 284
rect 888 288 950 294
rect 121 236 184 246
rect 888 254 902 288
rect 936 254 950 288
rect 888 240 950 254
rect 1004 290 1066 296
rect 1004 256 1018 290
rect 1052 256 1066 290
rect 1004 242 1066 256
rect 1150 284 1214 290
rect 1150 232 1156 284
rect 1208 232 1214 284
rect 1150 226 1214 232
rect 1918 -160 2000 14
rect 1794 -222 1856 -212
rect 1794 -256 1808 -222
rect 1842 -256 1856 -222
rect 1794 -266 1856 -256
rect -38 -326 24 -314
rect -38 -360 -24 -326
rect 10 -360 24 -326
rect -38 -368 24 -360
rect 138 -326 200 -316
rect 138 -360 150 -326
rect 184 -360 200 -326
rect 138 -370 200 -360
rect 890 -352 952 -340
rect 890 -386 904 -352
rect 938 -386 952 -352
rect 890 -394 952 -386
rect 1006 -350 1068 -338
rect 1006 -384 1018 -350
rect 1052 -384 1068 -350
rect 1006 -392 1068 -384
rect 1150 -368 1214 -362
rect 1150 -420 1156 -368
rect 1208 -420 1214 -368
rect 1150 -426 1214 -420
rect 592 -432 656 -426
rect 592 -484 598 -432
rect 650 -484 656 -432
rect 592 -490 656 -484
<< via1 >>
rect 1846 478 1898 530
rect 598 324 650 336
rect 598 290 606 324
rect 606 290 640 324
rect 640 290 650 324
rect 598 284 650 290
rect 1156 280 1208 284
rect 1156 246 1164 280
rect 1164 246 1198 280
rect 1198 246 1208 280
rect 1156 232 1208 246
rect 1156 -378 1208 -368
rect 1156 -412 1166 -378
rect 1166 -412 1200 -378
rect 1200 -412 1208 -378
rect 1156 -420 1208 -412
rect 598 -442 650 -432
rect 598 -476 608 -442
rect 608 -476 642 -442
rect 642 -476 650 -442
rect 598 -484 650 -476
rect 1848 -680 1900 -628
<< metal2 >>
rect 1840 530 1904 536
rect 1840 478 1846 530
rect 1898 478 1904 530
rect 1840 472 1904 478
rect 592 336 656 342
rect 592 284 598 336
rect 650 284 656 336
rect 592 278 656 284
rect 1150 284 1214 290
rect 610 176 638 278
rect 1150 232 1156 284
rect 1208 232 1214 284
rect 1150 226 1214 232
rect 558 148 638 176
rect 1167 173 1197 226
rect 610 -426 638 148
rect 1099 143 1197 173
rect 1167 -362 1197 143
rect 1150 -368 1214 -362
rect 1150 -420 1156 -368
rect 1208 -420 1214 -368
rect 1150 -426 1214 -420
rect 592 -432 656 -426
rect 592 -484 598 -432
rect 650 -484 656 -432
rect 592 -490 656 -484
rect 1863 -622 1892 472
rect 1842 -628 1906 -622
rect 1842 -680 1848 -628
rect 1900 -680 1906 -628
rect 1842 -686 1906 -680
use sky130_fd_sc_hd__mux4_1  sky130_fd_sc_hd__mux4_1_0 $PDK_ROOT/sky130B/libs.ref/sky130_fd_sc_hd/mag
transform 1 0 -60 0 1 -36
box -38 -48 1970 592
use sky130_fd_sc_hd__mux4_1  sky130_fd_sc_hd__mux4_1_1
transform 1 0 -60 0 -1 -112
box -38 -48 1970 592
use sky130_fd_sc_hd__tapvpwrvgnd_1  sky130_fd_sc_hd__tapvpwrvgnd_1_0 $PDK_ROOT/sky130B/libs.ref/sky130_fd_sc_hd/mag
transform 1 0 1872 0 1 -36
box -38 -48 130 592
use sky130_fd_sc_hd__tapvpwrvgnd_1  sky130_fd_sc_hd__tapvpwrvgnd_1_1
transform 1 0 1872 0 -1 -112
box -38 -48 130 592
<< labels >>
rlabel metal1 1936 460 2002 556 1 VDD
port 1 n
rlabel metal1 1918 -160 2000 14 1 GND
port 2 n
rlabel metal1 121 236 184 290 1 Z3_1
port 5 n
rlabel metal1 -24 236 38 290 1 Z2_1
port 6 n
rlabel metal1 1004 242 1066 296 1 Z1_1
port 7 n
rlabel metal1 888 240 950 294 1 Z0_1
port 8 n
rlabel metal2 1099 143 1129 173 1 y1
port 9 n
rlabel metal2 558 148 586 176 1 y0
port 10 n
rlabel metal1 138 -370 200 -316 1 Z3_0
port 11 n
rlabel metal1 -38 -368 24 -314 1 Z2_0
port 12 n
rlabel metal1 1006 -392 1068 -338 1 Z1_0
port 13 n
rlabel metal1 890 -394 952 -340 1 Z0_0
port 14 n
rlabel metal1 1794 346 1856 400 1 Zo_1
port 15 n
rlabel metal1 1794 -266 1856 -212 1 Zo_0
port 16 n
<< end >>
